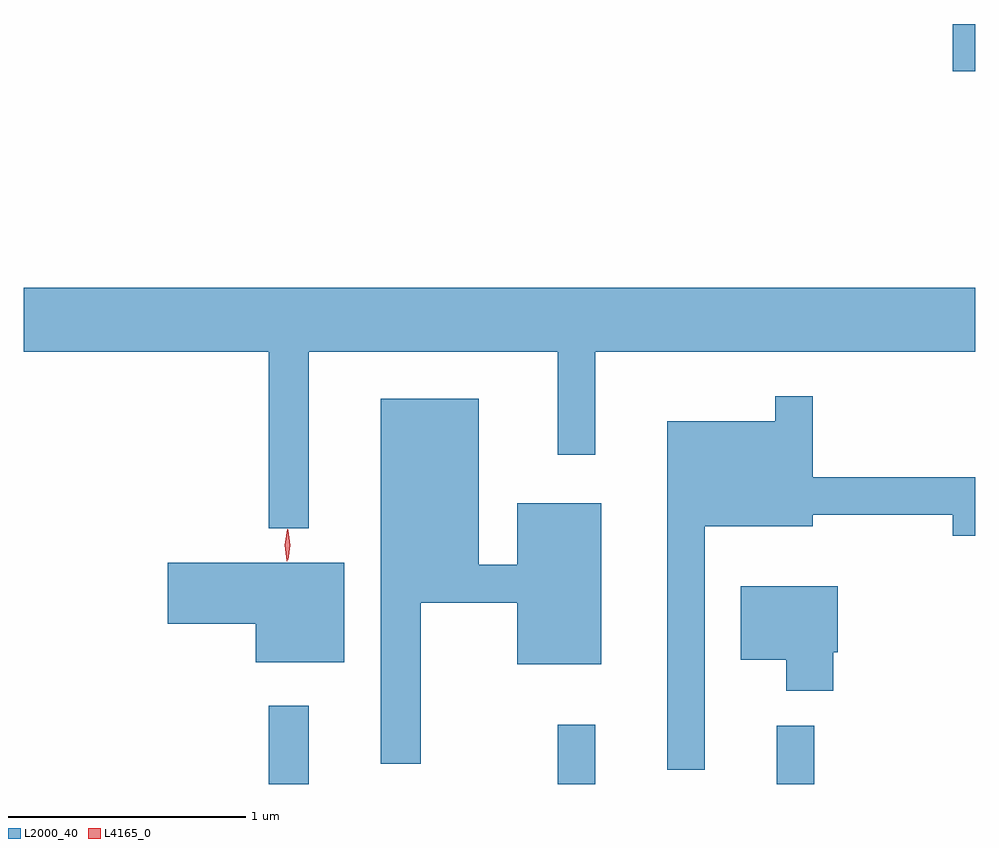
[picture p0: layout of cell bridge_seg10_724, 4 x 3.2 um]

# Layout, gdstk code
import gdstk
lib = gdstk.Library(unit=1e-6, precision=1e-09)
def R(c, l, rs):  # rectangles x0, y0, x1, y1
    for r in rs: c.add(gdstk.rectangle(r[:2], r[2:], *l))
def P(c, l, *ps):  # polygons
    for p in ps: c.add(gdstk.Polygon(p, *l))
L2000_40 = (2000, 40)
L4165_0 = (4165, 0)

bridge_seg10_724 = lib.new_cell('bridge_seg10_724')
R(bridge_seg10_724, L2000_40, [(530.961,2156.498,531.129,2156.828), (532.176,2156.498,532.334,2156.748), (533.096,2156.498,533.254,2156.743), (533.836,2159.496,533.931,2159.694)])
P(bridge_seg10_724, L2000_40, [(531.129,2158.316),(532.176,2158.316),(532.176,2157.883),(532.334,2157.883),(532.334,2158.316),(533.931,2158.316),(533.931,2158.584),(529.931,2158.584),(529.931,2158.316),(530.961,2158.316),(530.961,2157.573),(531.129,2157.573)],
  [(532.794,2157.581),(533.249,2157.581),(533.249,2157.631),(533.836,2157.631),(533.836,2157.541),(533.931,2157.541),(533.931,2157.789),(533.249,2157.789),(533.249,2158.128),(533.091,2158.128),(533.091,2158.024),(532.636,2158.024),(532.636,2156.558),(532.794,2156.558)],
  [(531.599,2157.261),(532.006,2157.261),(532.006,2157.001),(532.359,2157.001),(532.359,2157.679),(532.006,2157.679),(532.006,2157.419),(531.844,2157.419),(531.844,2158.119),(531.431,2158.119),(531.431,2156.583),(531.599,2156.583)],
  [(531.279,2157.429),(530.536,2157.429),(530.536,2157.171),(530.906,2157.171),(530.906,2157.011),(531.279,2157.011)],
  [(533.334,2157.051),(533.354,2157.051),(533.354,2157.329),(532.946,2157.329),(532.946,2157.021),(533.136,2157.021),(533.136,2156.891),(533.334,2156.891)])
P(bridge_seg10_724, L4165_0, [(531.037,2157.434),(531.028,2157.502),(531.039,2157.57),(531.039,2157.57),(531.04,2157.57),(531.048,2157.502),(531.038,2157.434),(531.038,2157.434)],
  [(531.042,2157.44),(531.042,2157.44),(531.032,2157.503),(531.042,2157.566),(531.042,2157.567),(531.043,2157.566),(531.052,2157.503),(531.043,2157.44)])

lib.write_gds('bridge_seg10_724.gds')
